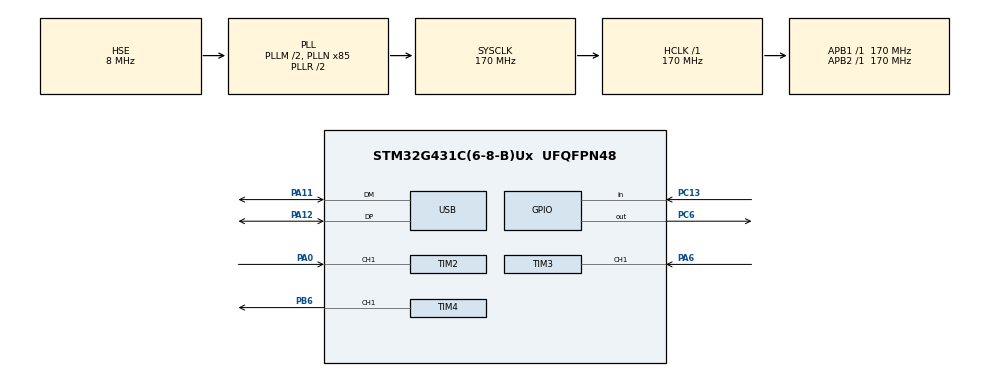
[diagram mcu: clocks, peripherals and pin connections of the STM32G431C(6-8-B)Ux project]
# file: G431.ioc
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FREERTOS.INCLUDE_uxTaskGetStackHighWaterMark=1
FREERTOS.INCLUDE_vTaskDelayUntil=1
FREERTOS.Queues01=tim3ch1Queue,16,uint16_t,0,Dynamic,NULL,NULL;tim2ch1Queue,16,uint16_t,0,Dynamic,NULL,NULL
FREERTOS.Tasks01=defaultTask,0,256,StartDefaultTask,Default,NULL,Dynamic,NULL,NULL;capTask,-2,256,CaptureTask,Default,NULL,Dynamic,NULL,NULL;usbTask,-1,256,UsbTask,Default,NULL,Dynamic,NULL,NULL
FREERTOS.configTICK_RATE_HZ=1000
FREERTOS.configTOTAL_HEAP_SIZE=9216
FREERTOS.configUSE_TIMERS=1
Mcu.Family=STM32G4
Mcu.Name=STM32G431C(6-8-B)Ux
Mcu.Package=UFQFPN48
NVIC.PriorityGroup=NVIC_PRIORITYGROUP_4
NVIC.TIM1_TRG_COM_TIM17_IRQn=true\:15\:0\:false\:false\:true\:false\:false\:true\:true
NVIC.TIM2_IRQn=true\:5\:0\:true\:false\:true\:true\:true\:true\:true
NVIC.TIM3_IRQn=true\:5\:0\:false\:false\:true\:true\:true\:true\:true
NVIC.TIM6_DAC_IRQn=true\:5\:0\:false\:false\:true\:true\:true\:true\:true
NVIC.TimeBase=TIM1_TRG_COM_TIM17_IRQn
NVIC.TimeBaseIP=TIM17
NVIC.USB_HP_IRQn=true\:5\:0\:false\:false\:true\:true\:true\:true\:true
NVIC.USB_LP_IRQn=true\:5\:0\:false\:false\:true\:true\:true\:true\:true
PA0.GPIO_PuPd=GPIO_PULLUP
PA0.GPIO_Speed=GPIO_SPEED_FREQ_VERY_HIGH
PA0.Signal=S_TIM2_CH1
PA11.Mode=Device
PA11.Signal=USB_DM
PA12.Mode=Device
PA12.Signal=USB_DP
PA13.Mode=Serial_Wire
PA13.Signal=SYS_JTMS-SWDIO
PA14.Mode=Serial_Wire
PA14.Signal=SYS_JTCK-SWCLK
PA6.GPIO_PuPd=GPIO_PULLUP
PA6.GPIO_Speed=GPIO_SPEED_FREQ_VERY_HIGH
PA6.Signal=S_TIM3_CH1
PB6.Signal=S_TIM4_CH1
PC13.GPIO_PuPd=GPIO_PULLDOWN
PC13.Signal=GPIO_Input
PC6.GPIO_PuPd=GPIO_PULLUP
PC6.GPIO_Speed=GPIO_SPEED_FREQ_VERY_HIGH
PC6.PinState=GPIO_PIN_SET
PC6.Signal=GPIO_Output
PF0-OSC_IN.Mode=HSE-External-Oscillator
PF0-OSC_IN.Signal=RCC_OSC_IN
PF1-OSC_OUT.Mode=HSE-External-Oscillator
PF1-OSC_OUT.Signal=RCC_OSC_OUT
ProjectManager.HeapSize=0x3000
ProjectManager.StackSize=0x3000
ProjectManager.TargetToolchain=MDK-ARM V5.32
RCC.ADC12Freq_Value=170000000
RCC.AHBFreq_Value=170000000
RCC.APB1Freq_Value=170000000
RCC.APB1TimFreq_Value=170000000
RCC.APB2Freq_Value=170000000
RCC.APB2TimFreq_Value=170000000
RCC.CK48CLockSelection=RCC_USBCLKSOURCE_HSI48
RCC.CortexFreq_Value=170000000
RCC.EXTERNAL_CLOCK_VALUE=12288000
RCC.HCLKFreq_Value=170000000
RCC.HSE_VALUE=8000000
RCC.HSI48_VALUE=48000000
RCC.HSI_VALUE=16000000
RCC.LSE_VALUE=32768
RCC.PLLM=RCC_PLLM_DIV2
RCC.PLLN=85
RCC.PLLQ=RCC_PLLQ_DIV8
RCC.PLLSourceVirtual=RCC_PLLSOURCE_HSE
RCC.SYSCLKFreq_VALUE=170000000
RCC.SYSCLKSource=RCC_SYSCLKSOURCE_PLLCLK
RCC.USBFreq_Value=48000000
RCC.VCOOutputFreq_Value=340000000
SH.S_TIM2_CH1.0=TIM2_CH1,Input_Capture1_from_TI1
SH.S_TIM3_CH1.0=TIM3_CH1,Input_Capture1_from_TI1
SH.S_TIM4_CH1.0=TIM4_CH1,PWM Generation1 CH1
TIM2.Channel-Input_Capture1_from_TI1=TIM_CHANNEL_1
TIM2.ICFilter_CH1=4
TIM2.ICPolarity_CH1=TIM_INPUTCHANNELPOLARITY_FALLING
TIM2.Prescaler=0
TIM3.AutoReloadPreload=TIM_AUTORELOAD_PRELOAD_DISABLE
TIM3.Channel-Input_Capture1_from_TI1=TIM_CHANNEL_1
TIM3.ICFilter_CH1=4
TIM3.ICPolarity_CH1=TIM_INPUTCHANNELPOLARITY_FALLING
TIM3.Prescaler=0
TIM4.Channel-PWM\ Generation1\ CH1=TIM_CHANNEL_1
TIM4.PeriodNoDither=999
TIM4.Prescaler=169
TIM6.AutoReloadPreload=TIM_AUTORELOAD_PRELOAD_ENABLE
TIM6.PeriodNoDither=9999
TIM6.Prescaler=169
USB_DEVICE.CLASS_NAME_FS=CDC
USB_DEVICE.VirtualMode=Cdc
USB_DEVICE.VirtualModeFS=Cdc_FS
VP_FREERTOS_VS_CMSIS_V1.Mode=CMSIS_V1
VP_SYS_VS_DBSignals.Mode=DisableDeadBatterySignals
VP_SYS_VS_tim17.Mode=TIM17
VP_TIM4_VS_ClockSourceINT.Mode=Internal
VP_TIM6_VS_ClockSourceINT.Mode=Enable_Timer
VP_USB_DEVICE_VS_USB_DEVICE_CDC_FS.Mode=CDC_FS
board=custom

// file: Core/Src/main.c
/* USER CODE BEGIN Header */
/**
  ******************************************************************************
  * @file           : main.c
  * @brief          : Main program body
  ******************************************************************************
  * @attention
  *
  * Copyright (c) 2024 STMicroelectronics.
  * All rights reserved.
  *
  * This software is licensed under terms that can be found in the LICENSE file
  * in the root directory of this software component.
  * If no LICENSE file comes with this software, it is provided AS-IS.
  *
  ******************************************************************************
  */
/* USER CODE END Header */
#include "main.h"
#include "cmsis_os.h"
#include "tim.h"
#include "usb_device.h"
#include "gpio.h"

void SystemClock_Config(void);
void MX_FREERTOS_Init(void);

/* USER CODE BEGIN 0 */
uint8_t usb_cdc_flag;
/* USER CODE END 0 */

int main(void)
{

  /* MCU Configuration--------------------------------------------------------*/

  /* Reset of all peripherals, Initializes the Flash interface and the Systick. */
  HAL_Init();

  /* Configure the system clock */
  SystemClock_Config();

  /* Initialize all configured peripherals */
  MX_GPIO_Init();
  MX_USB_Device_Init();
  MX_TIM4_Init();
  MX_TIM2_Init();
  MX_TIM3_Init();
  MX_TIM6_Init();
  /* USER CODE BEGIN 2 */
	HAL_TIM_PWM_Start(&htim4,TIM_CHANNEL_1);
	htim4.Instance->CCR1 = 500;//Vramp2
  /* USER CODE END 2 */

  /* Call init function for freertos objects (in freertos.c) */
  MX_FREERTOS_Init();

  /* Start scheduler */
  osKernelStart();

  /* We should never get here as control is now taken by the scheduler */
  /* Infinite loop */
  /* USER CODE BEGIN WHILE */
	long long usb_time=0;
	uint8_t my_RxBuf[512];
	uint32_t my_RxLength=0;
	uint8_t USBD_Result=0;

	sprintf((char *)my_RxBuf,"123456789,times:%lld\r\n",usb_time);

	while(usb_cdc_flag==0)
	{
		HAL_GPIO_TogglePin(GPIOC,GPIO_PIN_6);
		HAL_Delay(100);

	}
  while (1)
  {
	  sprintf((char *)(my_RxBuf+16),"%lld\r\n",usb_time);
	  my_RxLength=strlen((char *)my_RxBuf);

//	  if(usb_cdc_flag)
		  USBD_Result=CDC_Transmit_FS(my_RxBuf, my_RxLength);
	  if(USBD_Result==0)usb_time++;

	  HAL_Delay(1);

//	  if(HAL_GPIO_ReadPin(GPIOC,GPIO_PIN_13)==1)break;
	  if(GPIOC->IDR & 0x2000)break;

	  //	  HAL_GPIO_TogglePin(GPIOC,GPIO_PIN_6);
    /* USER CODE END WHILE */

    /* USER CODE BEGIN 3 */
  }
  while (1)
  {
	HAL_GPIO_TogglePin(GPIOC,GPIO_PIN_6);
	HAL_Delay(200);

  }
  /* USER CODE END 3 */
}

void SystemClock_Config(void)
{
  RCC_OscInitTypeDef RCC_OscInitStruct = {0};
  RCC_ClkInitTypeDef RCC_ClkInitStruct = {0};

  /** Configure the main internal regulator output voltage
  */
  HAL_PWREx_ControlVoltageScaling(PWR_REGULATOR_VOLTAGE_SCALE1_BOOST);

  /** Initializes the RCC Oscillators according to the specified parameters
  * in the RCC_OscInitTypeDef structure.
  */
  RCC_OscInitStruct.OscillatorType = RCC_OSCILLATORTYPE_HSI48|RCC_OSCILLATORTYPE_HSE;
  RCC_OscInitStruct.HSEState = RCC_HSE_ON;
  RCC_OscInitStruct.HSI48State = RCC_HSI48_ON;
  RCC_OscInitStruct.PLL.PLLState = RCC_PLL_ON;
  RCC_OscInitStruct.PLL.PLLSource = RCC_PLLSOURCE_HSE;
  RCC_OscInitStruct.PLL.PLLM = RCC_PLLM_DIV2;
  RCC_OscInitStruct.PLL.PLLN = 85;
  RCC_OscInitStruct.PLL.PLLP = RCC_PLLP_DIV2;
  RCC_OscInitStruct.PLL.PLLQ = RCC_PLLQ_DIV8;
  RCC_OscInitStruct.PLL.PLLR = RCC_PLLR_DIV2;
  if (HAL_RCC_OscConfig(&RCC_OscInitStruct) != HAL_OK)
  {
    Error_Handler();
  }

  /** Initializes the CPU, AHB and APB buses clocks
  */
  RCC_ClkInitStruct.ClockType = RCC_CLOCKTYPE_HCLK|RCC_CLOCKTYPE_SYSCLK
                              |RCC_CLOCKTYPE_PCLK1|RCC_CLOCKTYPE_PCLK2;
  RCC_ClkInitStruct.SYSCLKSource = RCC_SYSCLKSOURCE_PLLCLK;
  RCC_ClkInitStruct.AHBCLKDivider = RCC_SYSCLK_DIV1;
  RCC_ClkInitStruct.APB1CLKDivider = RCC_HCLK_DIV1;
  RCC_ClkInitStruct.APB2CLKDivider = RCC_HCLK_DIV1;

  if (HAL_RCC_ClockConfig(&RCC_ClkInitStruct, FLASH_LATENCY_4) != HAL_OK)
  {
    Error_Handler();
  }
}

/* USER CODE BEGIN 4 */
uint32_t tim6_cnt;
/* USER CODE END 4 */

void HAL_TIM_PeriodElapsedCallback(TIM_HandleTypeDef *htim)
{
  /* USER CODE BEGIN Callback 0 */
	if (htim->Instance == TIM3)
	{
		Timer3_ch1_Cap.OverflowCount++;
	}
	else if (htim->Instance == TIM2)
	{
		Timer2_ch1_Cap.OverflowCount++;
	}
	else if (htim->Instance == TIM6)
	{
		tim6_cnt++;
		if(tim6_cnt>=100)
		{
			senddata_speed=senddata_count;
			senddata_count=0;
//			HAL_GPIO_TogglePin(GPIOC,GPIO_PIN_6);
			tim6_cnt=0;
		}

	}
  /* USER CODE END Callback 0 */
  if (htim->Instance == TIM17) {
    HAL_IncTick();
  }
}

void Error_Handler(void)
{
  __disable_irq();
  while (1)
  {
  }
}

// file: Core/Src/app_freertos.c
/* USER CODE BEGIN Header */
/**
  ******************************************************************************
  * File Name          : app_freertos.c
  * Description        : Code for freertos applications
  ******************************************************************************
  * @attention
  *
  * Copyright (c) 2024 STMicroelectronics.
  * All rights reserved.
  *
  * This software is licensed under terms that can be found in the LICENSE file
  * in the root directory of this software component.
  * If no LICENSE file comes with this software, it is provided AS-IS.
  *
  ******************************************************************************
  */
/* USER CODE END Header */

#include "FreeRTOS.h"
#include "task.h"
#include "main.h"
#include "cmsis_os.h"

osThreadId defaultTaskHandle;
osThreadId capTaskHandle;
osThreadId usbTaskHandle;
osMessageQId tim3ch1QueueHandle;
osMessageQId tim2ch1QueueHandle;

void StartDefaultTask(void const * argument);
void CaptureTask(void const * argument);
void UsbTask(void const * argument);

void MX_FREERTOS_Init(void); /* (MISRA C 2004 rule 8.1) */

void MX_FREERTOS_Init(void) {

  /* Create the queue(s) */
  /* definition and creation of tim3ch1Queue */
  osMessageQDef(tim3ch1Queue, 16, uint16_t);
  tim3ch1QueueHandle = osMessageCreate(osMessageQ(tim3ch1Queue), NULL);

  /* definition and creation of tim2ch1Queue */
  osMessageQDef(tim2ch1Queue, 16, uint16_t);
  tim2ch1QueueHandle = osMessageCreate(osMessageQ(tim2ch1Queue), NULL);

  /* Create the thread(s) */
  /* definition and creation of defaultTask */
  osThreadDef(defaultTask, StartDefaultTask, osPriorityNormal, 0, 256);
  defaultTaskHandle = osThreadCreate(osThread(defaultTask), NULL);

  /* definition and creation of capTask */
  osThreadDef(capTask, CaptureTask, osPriorityLow, 0, 256);
  capTaskHandle = osThreadCreate(osThread(capTask), NULL);

  /* definition and creation of usbTask */
  osThreadDef(usbTask, UsbTask, osPriorityBelowNormal, 0, 256);
  usbTaskHandle = osThreadCreate(osThread(usbTask), NULL);

  /* USER CODE BEGIN RTOS_THREADS */
  /* add threads, ... */
//  	osTimerStart (tickTimerHandle, 1000);
  /* USER CODE END RTOS_THREADS */

}

/* USER CODE BEGIN Header_StartDefaultTask */
/**
  * @brief  Function implementing the defaultTask thread.
  * @param  argument: Not used
  * @retval None
  */

Tim_CaptureTypeDef Timer2_ch1_Cap;
Tim_CaptureTypeDef Timer3_ch1_Cap;
uint64_t senddata_count;
uint64_t senddata_speed;
/* USER CODE END Header_StartDefaultTask */
void StartDefaultTask(void const * argument)
{
  /* USER CODE BEGIN StartDefaultTask */
  /* Infinite loop */

	TickType_t xLastWakeTime;
    const TickType_t xFrequency = pdMS_TO_TICKS(100);

	long long usb_time=0;
	uint8_t my_TxBuf[512];//小心不要超过任务栈大小
	uint32_t my_RxLength=0;
	uint8_t USBD_Result=0;

	uint8_t print_txBuf[128];

	sprintf((char *)my_TxBuf,"123456789,times:%lld\r\n",usb_time);//+16
	sprintf((char *)my_TxBuf,"123456789,123456789,123456789,123456789,123456789,123456789,123456789,123456789,123456789,123456789,123456789,123456789,123456789,123456789,123456789,123456789,123456789,123456789,123456789,123456789,");

	xLastWakeTime = xTaskGetTickCount();
	while(usb_cdc_flag==0)
	{
		HAL_GPIO_TogglePin(GPIOC,GPIO_PIN_6);
//		vTaskDelayUntil(&xLastWakeTime, xFrequency);
		vTaskDelayUntil(&xLastWakeTime, pdMS_TO_TICKS(100));
//		osDelay(100);
	}

	for(;;)
	{
		sprintf((char *)(my_TxBuf+200),"%lld,senddata_speed:%lldbps \r\n",usb_time,senddata_speed * 8);
		my_RxLength=strlen((char *)my_TxBuf);
		USBD_Result=CDC_Transmit_FS(my_TxBuf, my_RxLength);
		if(USBD_Result==0)
		{
			usb_time++;
			senddata_count+=my_RxLength;
		}

//		vTaskDelayUntil(&xLastWakeTime, pdMS_TO_TICKS(1));
//		osDelay(20);
//		if(GPIOC->IDR & 0x2000)break;//HAL_GPIO_ReadPin(GPIOC,GPIO_PIN_13)
	}

	UBaseType_t freeStackSpace = uxTaskGetStackHighWaterMark(xTaskGetCurrentTaskHandle());
	sprintf((char *)print_txBuf,"Free Stack Space: %lu bytes\n", freeStackSpace * sizeof(StackType_t));//栈空间的单位是字  32位系统里一个字是32bit(4字节)
	CDC_Transmit_FS(print_txBuf, strlen((char *)print_txBuf));
	while (1)
	{
		HAL_GPIO_TogglePin(GPIOC,GPIO_PIN_6);
		osDelay(500);

	}
  /* USER CODE END StartDefaultTask */
}

void CaptureTask(void const * argument)
{
  /* USER CODE BEGIN CaptureTask */
	long long usb_time=0;
	uint8_t my_TxBuf[512];//小心不要超过任务栈大小
	uint32_t my_RxLength=0;
	uint8_t USBD_Result=0;

	HAL_TIM_Base_Start_IT(&htim2);
	HAL_TIM_Base_Start_IT(&htim3);
	HAL_TIM_Base_Start_IT(&htim6);//count

	__HAL_TIM_SET_CAPTUREPOLARITY(&htim3, TIM_CHANNEL_1, TIM_ICPOLARITY_FALLING);
	HAL_TIM_IC_Start_IT(&htim3, TIM_CHANNEL_1);	//启动输入捕获       或者: __HAL_TIM_ENABLE(&htim5);

  /* Infinite loop */
  for(;;)
  {

    switch (Timer2_ch1_Cap.capture_Cnt){
	case 0:
		Timer2_ch1_Cap.capture_Cnt++;
		__HAL_TIM_SET_CAPTUREPOLARITY(&htim2, TIM_CHANNEL_1, TIM_ICPOLARITY_FALLING);
		HAL_TIM_IC_Start_IT(&htim2, TIM_CHANNEL_1);	//启动输入捕获       或者: __HAL_TIM_ENABLE(&htim5);

		break;
	case 3:
		Timer2_ch1_Cap.low_time = Timer2_ch1_Cap.capture_Buf[1] - Timer2_ch1_Cap.capture_Buf[0] + (Timer2_ch1_Cap.OverflowCount << 16 );    //高电平时间
			sprintf((char *)my_TxBuf,"Timer2_ch1_Cap.low_time:%lld,%lld\r\ncapture_Buf[0]:%lu,capture_Buf[1]:%lu\r\nOverflowCount:%d\r\n\r\n",
				Timer2_ch1_Cap.low_time,usb_time,Timer2_ch1_Cap.capture_Buf[0],Timer2_ch1_Cap.capture_Buf[1],Timer2_ch1_Cap.OverflowCount);
			my_RxLength=strlen((char *)my_TxBuf);
			USBD_Result=CDC_Transmit_FS(my_TxBuf, my_RxLength);
			if(USBD_Result==0)usb_time++;
		Timer2_ch1_Cap.capture_Cnt = 0;  //清空标志位
		break;
	}
//    osDelay(1);
  }
  /* USER CODE END CaptureTask */
}

void UsbTask(void const * argument)
{
  /* USER CODE BEGIN UsbTask */
	long long usb_time=0;
	uint8_t my_TxBuf[512];//小心不要超过任务栈大小
	uint32_t my_RxLength=0;
	uint8_t USBD_Result=0;
	long long usb_wrong_time=0;

	UBaseType_t Queue_data_num=0;
	osEvent event;
  /* Infinite loop */
  for(;;)
  {
	Queue_data_num = uxQueueMessagesWaiting(tim3ch1QueueHandle);
//	if(Queue_data_num)
	{
		event=osMessageGet(tim3ch1QueueHandle,1);//osWaitForever
		if(osEventMessage==event.status)
		{
			sprintf((char *)my_TxBuf,"Timer3_ch1_Cap.low_time:%d,usb_time:%lld,usb_wrong_time:%lld,Queue_data_num:%d\n",
				event.value.v,usb_time,usb_wrong_time,Queue_data_num);
			my_RxLength=strlen((char *)my_TxBuf);
			USBD_Result=CDC_Transmit_FS(my_TxBuf, my_RxLength);
			if(USBD_Result==0)
			{
				usb_time++;
				senddata_count+=my_RxLength;
			}
			else
			{
				usb_wrong_time++;
			}
		}
	}
//	else
//	{
//		sprintf((char *)my_TxBuf,"Timer3_ch1_Cap.low_time error:0x%x,usb_time:%lld,usb_wrong_time:%lld\n",event.status,usb_time,usb_wrong_time);
//		my_RxLength=strlen((char *)my_TxBuf);
//		USBD_Result=CDC_Transmit_FS(my_TxBuf, my_RxLength);
//		if(USBD_Result==0)
//		{
//			usb_time++;
//			senddata_count+=my_RxLength;
//		}
//		else
//		{
//			usb_wrong_time++;
//		}
//	}

//    osDelay(1);
  }
  /* USER CODE END UsbTask */
}

/* USER CODE BEGIN Application */

void HAL_TIM_IC_CaptureCallback(TIM_HandleTypeDef *htim)
{
	osEvent xReturn[10];
	if(TIM3 == htim->Instance)
	{
		switch(Timer3_ch1_Cap.capture_Cnt){
			case 0:
				Timer3_ch1_Cap.capture_Buf[0] = HAL_TIM_ReadCapturedValue(&htim3,TIM_CHANNEL_1);//获取当前的捕获值.
				Timer3_ch1_Cap.OverflowCount=0;
				__HAL_TIM_SET_CAPTUREPOLARITY(&htim3,TIM_CHANNEL_1,TIM_INPUTCHANNELPOLARITY_RISING);  //设置为下降沿捕获
				Timer3_ch1_Cap.capture_Cnt=1;
				break;
			case 1:
				Timer3_ch1_Cap.capture_Buf[1] = HAL_TIM_ReadCapturedValue(&htim3,TIM_CHANNEL_1);//获取当前的捕获值.
				Timer3_ch1_Cap.low_time = Timer3_ch1_Cap.capture_Buf[1] - Timer3_ch1_Cap.capture_Buf[0] + (Timer3_ch1_Cap.OverflowCount << 16 );    //高电平时间
				__HAL_TIM_SET_CAPTUREPOLARITY(&htim3, TIM_CHANNEL_1, TIM_ICPOLARITY_FALLING);
				Timer3_ch1_Cap.capture_Cnt=0;
				xReturn[0].status=osMessagePut(tim3ch1QueueHandle,(uint16_t)Timer3_ch1_Cap.low_time,0);
				//	if(osOK!=xReturn.status)
				//	{
				//		while(1);
				////		printf("send fail\n");
				//	}
		}
	}
	else if(TIM2 == htim->Instance)
	{
		switch(Timer2_ch1_Cap.capture_Cnt){
			case 1:

				Timer2_ch1_Cap.capture_Buf[0] = HAL_TIM_ReadCapturedValue(&htim2,TIM_CHANNEL_1);//获取当前的捕获值.
				Timer2_ch1_Cap.OverflowCount=0;
				__HAL_TIM_SET_CAPTUREPOLARITY(&htim2,TIM_CHANNEL_1,TIM_INPUTCHANNELPOLARITY_RISING);  //设置为下降沿捕获
				Timer2_ch1_Cap.capture_Cnt++;
				break;
			case 2:
				Timer2_ch1_Cap.capture_Buf[1] = HAL_TIM_ReadCapturedValue(&htim2,TIM_CHANNEL_1);//获取当前的捕获值.
				HAL_TIM_IC_Stop_IT(&htim2,TIM_CHANNEL_1); //停止捕获   或者: __HAL_TIM_DISABLE(&htim5);
				Timer2_ch1_Cap.capture_Cnt++;
		}

	}

}

/* USER CODE END Application */
